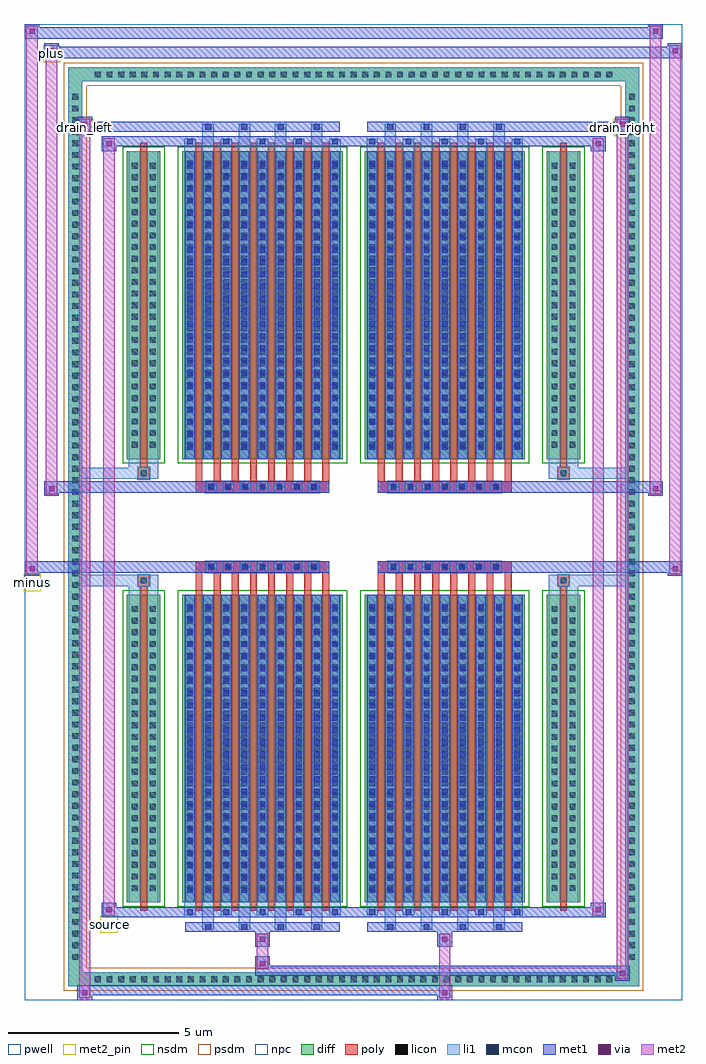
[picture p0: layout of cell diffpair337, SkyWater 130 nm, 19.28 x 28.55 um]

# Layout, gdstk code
import gdstk
lib = gdstk.Library(unit=1e-6, precision=5e-09)
def R(c, l, rs):  # rectangles x0, y0, x1, y1
    for r in rs: c.add(gdstk.rectangle(r[:2], r[2:], *l))
def A(c, l, x, y, w, h, nx, ny, dx, dy):  # array of equal rectangles
    R(c, l, [(x+i*dx, y+j*dy, x+i*dx+w, y+j*dy+h) for i in range(nx) for j in range(ny)])
def P(c, l, *ps):  # polygons
    for p in ps: c.add(gdstk.Polygon(p, *l))
pwell = (64, 44)
diff = (65, 20)
poly = (66, 20)
licon = (66, 44)
li1 = (67, 20)
mcon = (67, 44)
met1 = (68, 20)
via = (68, 44)
met2_pin = (69, 16)
met2 = (69, 20)
nsdm = (93, 44)
psdm = (94, 20)
npc = (95, 20)

diffpair337 = lib.new_cell('diffpair337')
R(diffpair337, pwell, [(-9.62,-13.84,9.62,14.71), (-6.94,-12.03,-0.01,-0.805), (0.01,-12.03,6.94,-0.805), (-6.94,0.805,-0.01,12.03), (0.01,0.805,6.94,12.03)])
A(diffpair337, diff, -7.685, -13.44, 0.41, 0.41, 45, 2, 0.34, 26.47)
A(diffpair337, diff, -8.35, -12.785, 0.41, 0.41, 1, 75, 0, 0.34)
A(diffpair337, diff, 7.94, -12.785, 0.41, 0.41, 1, 75, 0, 0.34)
R(diffpair337, diff, [(-7.685,-13.44,7.685,-13.03), (-8.35,-12.785,-7.94,12.785), (7.94,-12.785,8.35,12.785), (-6.63,-10.985,-5.65,-1.985), (-5.01,-10.985,-0.32,-1.985), (0.32,-10.985,5.01,-1.985), (5.65,-10.985,6.63,-1.985), (-6.63,1.985,-5.65,10.985), (-5.01,1.985,-0.32,10.985), (0.32,1.985,5.01,10.985), (5.65,1.985,6.63,10.985), (-7.685,13.03,7.685,13.44)])
P(diffpair337, diff, [(8.35,13.44),(-8.35,13.44),(-8.35,-13.03),(-7.94,-13.03),(-7.94,13.03),(7.94,13.03),(7.94,-13.03),(-7.94,-13.03),(-8.35,-13.03),(-8.35,-13.44),(8.35,-13.44)])
A(diffpair337, poly, -4.62, -11.235, 0.2, 9.5, 8, 2, 0.53, 12.97)
A(diffpair337, poly, 0.71, -11.235, 0.2, 9.5, 8, 2, 0.53, 12.97)
A(diffpair337, poly, -4.62, -1.735, 0.2, 0.4, 8, 2, 0.53, 3.07)
A(diffpair337, poly, 0.71, -1.735, 0.2, 0.4, 8, 2, 0.53, 3.07)
A(diffpair337, poly, -4.33, -1.335, 0.33, 0.33, 7, 2, 0.5, 2.34)
A(diffpair337, poly, 1, -1.335, 0.33, 0.33, 7, 2, 0.5, 2.34)
R(diffpair337, poly, [(-6.24,-11.235,-6.04,-1.735), (6.04,-11.235,6.24,-1.735), (-6.305,-1.735,-5.975,-1.405), (-6.305,-1.735,-5.975,-1.405), (5.975,-1.735,6.305,-1.405), (5.975,-1.735,6.305,-1.405), (-4.62,-1.335,-0.71,-1.005), (0.71,-1.335,4.62,-1.005), (-4.62,1.005,-0.71,1.335), (0.71,1.005,4.62,1.335), (-6.305,1.405,-5.975,1.735), (-6.305,1.405,-5.975,1.735), (5.975,1.405,6.305,1.735), (5.975,1.405,6.305,1.735), (-6.24,1.735,-6.04,11.235), (6.04,1.735,6.24,11.235)])
A(diffpair337, licon, -7.565, -13.32, 0.17, 0.17, 45, 2, 0.34, 26.47)
A(diffpair337, licon, -8.23, -12.665, 0.17, 0.17, 1, 75, 0, 0.34)
A(diffpair337, licon, 8.06, -12.665, 0.17, 0.17, 1, 75, 0, 0.34)
A(diffpair337, licon, -6.49, -10.65, 0.17, 0.17, 1, 25, 0, 0.34)
A(diffpair337, licon, -5.96, -10.65, 0.17, 0.17, 1, 25, 0, 0.34)
A(diffpair337, licon, -4.87, -10.65, 0.17, 0.17, 9, 25, 0.53, 0.34)
A(diffpair337, licon, 0.46, -10.65, 0.17, 0.17, 9, 25, 0.53, 0.34)
A(diffpair337, licon, 5.79, -10.65, 0.17, 0.17, 1, 25, 0, 0.34)
A(diffpair337, licon, 6.32, -10.65, 0.17, 0.17, 1, 25, 0, 0.34)
A(diffpair337, licon, -4.25, -1.255, 0.17, 0.17, 7, 2, 0.5, 2.34)
A(diffpair337, licon, 1.08, -1.255, 0.17, 0.17, 7, 2, 0.5, 2.34)
A(diffpair337, licon, -6.49, 2.32, 0.17, 0.17, 1, 25, 0, 0.34)
A(diffpair337, licon, -5.96, 2.32, 0.17, 0.17, 1, 25, 0, 0.34)
A(diffpair337, licon, -4.87, 2.32, 0.17, 0.17, 9, 25, 0.53, 0.34)
A(diffpair337, licon, 0.46, 2.32, 0.17, 0.17, 9, 25, 0.53, 0.34)
A(diffpair337, licon, 5.79, 2.32, 0.17, 0.17, 1, 25, 0, 0.34)
A(diffpair337, licon, 6.32, 2.32, 0.17, 0.17, 1, 25, 0, 0.34)
R(diffpair337, licon, [(-6.225,-1.655,-6.055,-1.485), (6.055,-1.655,6.225,-1.485), (-6.225,1.485,-6.055,1.655), (6.055,1.485,6.225,1.655)])
A(diffpair337, li1, -7.645, -13.4, 0.33, 0.33, 45, 2, 0.34, 26.47)
A(diffpair337, li1, -8.31, -12.745, 0.33, 0.33, 1, 75, 0, 0.34)
A(diffpair337, li1, 7.98, -12.745, 0.33, 0.33, 1, 75, 0, 0.34)
A(diffpair337, li1, -4.42, -11.79, 0.33, 0.805, 4, 2, 1.06, 22.775)
A(diffpair337, li1, -4.34, -11.79, 0.17, 0.17, 4, 2, 1.06, 23.41)
A(diffpair337, li1, 0.91, -11.79, 0.33, 0.805, 4, 2, 1.06, 22.775)
A(diffpair337, li1, 0.99, -11.79, 0.17, 0.17, 4, 2, 1.06, 23.41)
A(diffpair337, li1, -4.95, -11.36, 0.33, 0.375, 5, 2, 1.06, 22.345)
A(diffpair337, li1, -4.87, -11.36, 0.17, 0.17, 5, 2, 1.06, 22.55)
A(diffpair337, li1, 0.38, -11.36, 0.33, 0.375, 5, 2, 1.06, 22.345)
A(diffpair337, li1, 0.46, -11.36, 0.17, 0.17, 5, 2, 1.06, 22.55)
A(diffpair337, li1, -4.95, -10.985, 0.33, 9, 9, 2, 0.53, 12.97)
A(diffpair337, li1, 0.38, -10.985, 0.33, 9, 9, 2, 0.53, 12.97)
A(diffpair337, li1, -6.57, -10.73, 0.33, 0.33, 1, 25, 0, 0.34)
A(diffpair337, li1, -6.04, -10.73, 0.33, 0.33, 1, 25, 0, 0.34)
A(diffpair337, li1, -4.95, -10.73, 0.33, 0.33, 9, 25, 0.53, 0.34)
A(diffpair337, li1, 0.38, -10.73, 0.33, 0.33, 9, 25, 0.53, 0.34)
A(diffpair337, li1, 5.71, -10.73, 0.33, 0.33, 1, 25, 0, 0.34)
A(diffpair337, li1, 6.24, -10.73, 0.33, 0.33, 1, 25, 0, 0.34)
A(diffpair337, li1, -4.87, -10.71, 0.17, 0.17, 9, 24, 0.53, 0.36)
A(diffpair337, li1, -4.87, -10.71, 0.17, 8.45, 9, 2, 0.53, 12.97)
A(diffpair337, li1, 0.46, -10.71, 0.17, 0.17, 9, 24, 0.53, 0.36)
A(diffpair337, li1, 0.46, -10.71, 0.17, 8.45, 9, 2, 0.53, 12.97)
A(diffpair337, li1, -4.33, -1.335, 0.33, 0.33, 7, 2, 0.5, 2.34)
A(diffpair337, li1, 1, -1.335, 0.33, 0.33, 7, 2, 0.5, 2.34)
A(diffpair337, li1, -6.57, 2.24, 0.33, 0.33, 1, 25, 0, 0.34)
A(diffpair337, li1, -6.04, 2.24, 0.33, 0.33, 1, 25, 0, 0.34)
A(diffpair337, li1, -4.95, 2.24, 0.33, 0.33, 9, 25, 0.53, 0.34)
A(diffpair337, li1, 0.38, 2.24, 0.33, 0.33, 9, 25, 0.53, 0.34)
A(diffpair337, li1, 5.71, 2.24, 0.33, 0.33, 1, 25, 0, 0.34)
A(diffpair337, li1, 6.24, 2.24, 0.33, 0.33, 1, 25, 0, 0.34)
A(diffpair337, li1, -4.87, 2.26, 0.17, 0.17, 9, 24, 0.53, 0.36)
A(diffpair337, li1, 0.46, 2.26, 0.17, 0.17, 9, 24, 0.53, 0.36)
R(diffpair337, li1, [(-8.35,-13.44,-7.94,-13.03), (-8.35,-13.44,-7.94,-13.03), (-7.94,-13.44,7.94,-13.03), (7.94,-13.44,8.35,-13.03), (7.94,-13.44,8.35,-13.03), (-8.35,-13.03,-7.94,13.03), (7.94,-13.03,8.35,13.03), (-6.57,-10.985,-6.24,-1.985), (-6.04,-10.985,-5.71,-1.985), (5.71,-10.985,6.04,-1.985), (6.24,-10.985,6.57,-1.985), (-6.57,-1.985,-6.24,-1.405), (-6.04,-1.985,-5.71,-1.405), (5.71,-1.985,6.04,-1.405), (6.24,-1.985,6.57,-1.405), (-8.35,-1.735,-6.305,-1.405), (-6.57,-1.735,-6.305,-1.405), (-6.305,-1.735,-5.975,-1.405), (-5.975,-1.735,-5.71,-1.405), (5.71,-1.735,5.975,-1.405), (5.975,-1.735,6.305,-1.405), (5.975,-1.735,8.35,-1.405), (6.305,-1.735,6.57,-1.405), (-8.35,1.405,-6.305,1.735), (-6.57,1.405,-6.305,1.735), (-6.57,1.405,-6.24,1.985), (-6.305,1.405,-5.975,1.735), (-6.04,1.405,-5.71,1.985), (-5.975,1.405,-5.71,1.735), (5.71,1.405,5.975,1.735), (5.71,1.405,6.04,1.985), (5.975,1.405,6.305,1.735), (5.975,1.405,8.35,1.735), (6.24,1.405,6.57,1.985), (6.305,1.405,6.57,1.735), (-6.57,1.985,-6.24,10.985), (-6.04,1.985,-5.71,10.985), (5.71,1.985,6.04,10.985), (6.24,1.985,6.57,10.985), (-8.35,13.03,-7.94,13.44), (-8.35,13.03,-7.94,13.44), (-7.94,13.03,7.94,13.44), (7.94,13.03,8.35,13.44), (7.94,13.03,8.35,13.44)])
A(diffpair337, mcon, -4.34, -11.79, 0.17, 0.17, 4, 2, 1.06, 23.41)
A(diffpair337, mcon, 0.99, -11.79, 0.17, 0.17, 4, 2, 1.06, 23.41)
A(diffpair337, mcon, -4.87, -11.36, 0.17, 0.17, 5, 2, 1.06, 22.55)
A(diffpair337, mcon, 0.46, -11.36, 0.17, 0.17, 5, 2, 1.06, 22.55)
A(diffpair337, mcon, -4.87, -10.71, 0.17, 0.17, 9, 24, 0.53, 0.36)
A(diffpair337, mcon, 0.46, -10.71, 0.17, 0.17, 9, 24, 0.53, 0.36)
A(diffpair337, mcon, -4.25, -1.255, 0.17, 0.17, 7, 2, 0.5, 2.34)
A(diffpair337, mcon, 1.08, -1.255, 0.17, 0.17, 7, 2, 0.5, 2.34)
A(diffpair337, mcon, -4.87, 2.26, 0.17, 0.17, 9, 24, 0.53, 0.36)
A(diffpair337, mcon, 0.46, 2.26, 0.17, 0.17, 9, 24, 0.53, 0.36)
A(diffpair337, met1, -4.4, -11.85, 0.29, 0.29, 4, 2, 1.06, 23.41)
A(diffpair337, met1, 0.93, -11.85, 0.29, 0.29, 4, 2, 1.06, 23.41)
A(diffpair337, met1, -4.93, -11.42, 0.29, 0.29, 5, 2, 1.06, 22.55)
A(diffpair337, met1, 0.4, -11.42, 0.29, 0.29, 5, 2, 1.06, 22.55)
A(diffpair337, met1, -4.93, -10.985, 0.29, 9, 9, 2, 0.53, 12.97)
A(diffpair337, met1, 0.4, -10.985, 0.29, 9, 9, 2, 0.53, 12.97)
A(diffpair337, met1, -4.93, -10.77, 0.29, 0.29, 9, 24, 0.53, 0.36)
A(diffpair337, met1, 0.4, -10.77, 0.29, 0.29, 9, 24, 0.53, 0.36)
A(diffpair337, met1, -4.31, -1.315, 0.29, 0.29, 7, 2, 0.5, 2.34)
A(diffpair337, met1, 1.02, -1.315, 0.29, 0.29, 7, 2, 0.5, 2.34)
A(diffpair337, met1, -4.93, 2.2, 0.29, 0.29, 9, 24, 0.53, 0.36)
A(diffpair337, met1, 0.4, 2.2, 0.29, 0.29, 9, 24, 0.53, 0.36)
R(diffpair337, met1, [(-8.08,-13.84,-7.65,-13.41), (2.45,-13.84,2.88,-13.41), (-8.08,-13.7,2.88,-13.41), (7.65,-13.27,8.08,-12.84), (-2.88,-13.13,8.08,-12.84), (-2.88,-12.99,-2.45,-12.56), (-2.88,-12.28,-2.45,-11.85), (2.45,-12.28,2.88,-11.85), (-4.93,-11.85,-0.4,-11.56), (0.4,-11.85,4.93,-11.56), (-7.37,-11.42,-6.94,-10.99), (-7.37,-11.42,-4.93,-11.13), (-4.93,-11.42,-0.4,-11.13), (-0.4,-11.42,0.4,-11.13), (0.4,-11.42,4.93,-11.13), (4.93,-11.42,7.37,-11.13), (6.94,-11.42,7.37,-10.99), (-9.62,-1.435,-9.19,-1.005), (9.19,-1.435,9.62,-1.005), (-9.62,-1.335,-0.71,-1.005), (-4.62,-1.335,-0.71,-1.005), (0.71,-1.335,4.62,-1.005), (0.71,-1.335,9.62,-1.005), (-9.05,0.905,-8.62,1.335), (8.62,0.905,9.05,1.335), (-9.05,1.005,-4.62,1.335), (-4.62,1.005,-0.71,1.335), (0.71,1.005,4.62,1.335), (4.62,1.005,9.05,1.335), (-7.37,10.99,-6.94,11.42), (6.94,10.99,7.37,11.42), (-7.37,11.13,-4.93,11.42), (-4.93,11.13,-0.4,11.42), (-0.4,11.13,0.4,11.42), (0.4,11.13,4.93,11.42), (4.93,11.13,7.37,11.42), (-8.08,11.56,-7.65,11.99), (-8.08,11.56,-4.93,11.85), (-4.93,11.56,-0.4,11.85), (0.4,11.56,4.93,11.85), (4.93,11.56,8.08,11.85), (7.65,11.56,8.08,11.99), (-9.05,13.71,-8.62,14.14), (-9.05,13.71,-6.94,14.04), (-6.94,13.71,6.94,14.04), (6.94,13.71,9.62,14.04), (9.19,13.71,9.62,14.14), (-9.62,14.28,-9.19,14.71), (-9.62,14.28,-6.94,14.61), (-6.94,14.28,6.94,14.61), (6.94,14.28,9.05,14.61), (8.62,14.28,9.05,14.71)])
R(diffpair337, via, [(-7.94,-13.7,-7.79,-13.55), (2.59,-13.7,2.74,-13.55), (7.79,-13.13,7.94,-12.98), (-2.74,-12.85,-2.59,-12.7), (-2.74,-12.14,-2.59,-11.99), (2.59,-12.14,2.74,-11.99), (-7.23,-11.28,-7.08,-11.13), (7.08,-11.28,7.23,-11.13), (-9.48,-1.295,-9.33,-1.145), (9.33,-1.295,9.48,-1.145), (-8.91,1.045,-8.76,1.195), (8.76,1.045,8.91,1.195), (-7.23,11.13,-7.08,11.28), (7.08,11.13,7.23,11.28), (-7.94,11.7,-7.79,11.85), (7.79,11.7,7.94,11.85), (-8.91,13.85,-8.76,14), (9.33,13.85,9.48,14), (-9.48,14.42,-9.33,14.57), (8.76,14.42,8.91,14.57)])
R(diffpair337, met2_pin, [(-7.405,-11.87,-6.905,-11.37), (-9.655,-1.885,-9.155,-1.385), (-8.115,11.44,-7.615,11.94), (7.615,11.44,8.115,11.94), (-9.085,13.59,-8.585,14.09)])
R(diffpair337, met2, [(-8.03,-13.79,-7.7,-13.46), (-8.03,-13.79,-7.7,11.94), (2.5,-13.79,2.83,-13.46), (2.5,-13.46,2.83,-12.23), (7.7,-13.22,8.03,-12.89), (7.7,-13.22,8.03,11.94), (-2.83,-12.94,-2.5,-12.61), (-2.83,-12.61,-2.5,-12.23), (-2.83,-12.23,-2.5,-11.9), (2.5,-12.23,2.83,-11.9), (-7.32,-11.37,-6.99,-11.04), (-7.32,-11.37,-6.99,11.37), (6.99,-11.37,7.32,-11.04), (6.99,-11.37,7.32,11.37), (-9.57,-1.385,-9.24,-1.055), (-9.57,-1.385,-9.24,14.66), (9.24,-1.385,9.57,-1.055), (9.24,-1.385,9.57,14.09), (-9,0.955,-8.67,1.285), (-9,0.955,-8.67,14.09), (8.67,0.955,9,1.285), (8.67,0.955,9,14.66), (-7.32,11.04,-6.99,11.37), (6.99,11.04,7.32,11.37), (-8.03,11.61,-7.7,11.94), (7.7,11.61,8.03,11.94), (-9,13.76,-8.67,14.09), (9.24,13.76,9.57,14.09), (-9.57,14.33,-9.24,14.66), (8.67,14.33,9,14.66)])
P(diffpair337, met2, [(9.57,-1.385),(9.57,-1.385),(9.57,-1.055),(9.57,-1.055)],
  [(9.57,13.76),(9.57,13.76),(9.57,14.09),(9.57,14.09)],
  [(-9.24,-1.385),(-9.24,-1.385),(-9.24,-1.055),(-9.24,-1.055)],
  [(-9.24,14.33),(-9.24,14.33),(-9.24,14.66),(-9.24,14.66)],
  [(9,0.955),(9,0.955),(9,1.285),(9,1.285)],
  [(9,14.33),(9,14.33),(9,14.66),(9,14.66)],
  [(-8.67,0.955),(-8.67,0.955),(-8.67,1.285),(-8.67,1.285)],
  [(-8.67,13.76),(-8.67,13.76),(-8.67,14.09),(-8.67,14.09)],
  [(-7.7,-13.79),(-7.7,-13.79),(-7.7,-13.46),(-7.7,-13.46)],
  [(-7.7,11.61),(-7.7,11.61),(-7.7,11.94),(-7.7,11.94)],
  [(8.03,-13.22),(8.03,-13.22),(8.03,-12.89),(8.03,-12.89)],
  [(8.03,11.61),(8.03,11.61),(8.03,11.94),(8.03,11.94)],
  [(-6.99,-11.37),(-6.99,-11.37),(-6.99,-11.04),(-6.99,-11.04)],
  [(-6.99,11.04),(-6.99,11.04),(-6.99,11.37),(-6.99,11.37)],
  [(7.32,-11.37),(7.32,-11.37),(7.32,-11.04),(7.32,-11.04)],
  [(7.32,11.04),(7.32,11.04),(7.32,11.37),(7.32,11.37)])
R(diffpair337, nsdm, [(-6.76,-11.115,-5.52,-1.855), (-5.14,-11.115,-0.19,-1.855), (0.19,-11.115,5.14,-1.855), (5.52,-11.115,6.76,-1.855), (-6.76,1.855,-5.52,11.115), (-5.14,1.855,-0.19,11.115), (0.19,1.855,5.14,11.115), (5.52,1.855,6.76,11.115)])
P(diffpair337, psdm, [(8.48,13.57),(-8.48,13.57),(-8.48,-12.9),(-7.81,-12.9),(-7.81,12.9),(7.81,12.9),(7.81,-12.9),(-7.81,-12.9),(-8.48,-12.9),(-8.48,-13.57),(8.48,-13.57)])
A(diffpair337, npc, -4.35, -1.355, 0.37, 0.37, 7, 2, 0.5, 2.34)
A(diffpair337, npc, 0.98, -1.355, 0.37, 0.37, 7, 2, 0.5, 2.34)
R(diffpair337, npc, [(-6.325,-1.755,-5.955,-1.385), (5.955,-1.755,6.325,-1.385), (-4.35,-1.355,-3.48,-0.985), (-4.35,-1.355,-3.48,-0.985), (-3.85,-1.355,-2.98,-0.985), (-3.85,-1.355,-2.98,-0.985), (-3.35,-1.355,-2.48,-0.985), (-3.35,-1.355,-2.48,-0.985), (-2.85,-1.355,-1.98,-0.985), (-2.85,-1.355,-1.98,-0.985), (-2.35,-1.355,-1.48,-0.985), (-2.35,-1.355,-1.48,-0.985), (-1.85,-1.355,-0.98,-0.985), (-1.85,-1.355,-0.98,-0.985), (0.98,-1.355,1.85,-0.985), (0.98,-1.355,1.85,-0.985), (1.48,-1.355,2.35,-0.985), (1.48,-1.355,2.35,-0.985), (1.98,-1.355,2.85,-0.985), (1.98,-1.355,2.85,-0.985), (2.48,-1.355,3.35,-0.985), (2.48,-1.355,3.35,-0.985), (2.98,-1.355,3.85,-0.985), (2.98,-1.355,3.85,-0.985), (3.48,-1.355,4.35,-0.985), (3.48,-1.355,4.35,-0.985), (-4.35,0.985,-3.48,1.355), (-4.35,0.985,-3.48,1.355), (-3.85,0.985,-2.98,1.355), (-3.85,0.985,-2.98,1.355), (-3.35,0.985,-2.48,1.355), (-3.35,0.985,-2.48,1.355), (-2.85,0.985,-1.98,1.355), (-2.85,0.985,-1.98,1.355), (-2.35,0.985,-1.48,1.355), (-2.35,0.985,-1.48,1.355), (-1.85,0.985,-0.98,1.355), (-1.85,0.985,-0.98,1.355), (0.98,0.985,1.85,1.355), (0.98,0.985,1.85,1.355), (1.48,0.985,2.35,1.355), (1.48,0.985,2.35,1.355), (1.98,0.985,2.85,1.355), (1.98,0.985,2.85,1.355), (2.48,0.985,3.35,1.355), (2.48,0.985,3.35,1.355), (2.98,0.985,3.85,1.355), (2.98,0.985,3.85,1.355), (3.48,0.985,4.35,1.355), (3.48,0.985,4.35,1.355), (-6.325,1.385,-5.955,1.755), (5.955,1.385,6.325,1.755)])
diffpair337.add(gdstk.Label('minus', (-9.405,-1.635), layer=69, texttype=5))
diffpair337.add(gdstk.Label('drain_right', (7.865,11.69), layer=69, texttype=5))
diffpair337.add(gdstk.Label('drain_left', (-7.865,11.69), layer=69, texttype=5))
diffpair337.add(gdstk.Label('source', (-7.155,-11.62), layer=69, texttype=5))
diffpair337.add(gdstk.Label('plus', (-8.835,13.84), layer=69, texttype=5))

lib.write_gds('diffpair337.gds')
